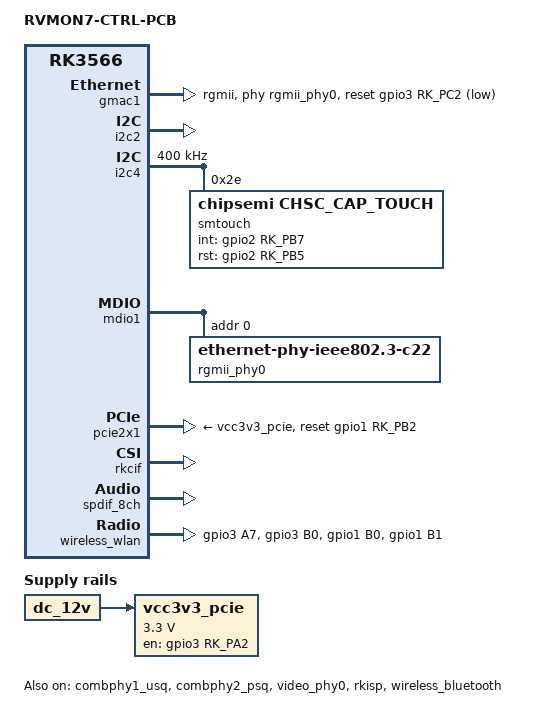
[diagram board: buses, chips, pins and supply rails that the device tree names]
// SPDX-License-Identifier: (GPL-2.0+ OR MIT)
/*
 * Copyright (c) 2020 Rockchip Electronics Co., Ltd.
 *
 */

/dts-v1/;

#include <dt-bindings/gpio/gpio.h>
#include <dt-bindings/display/media-bus-format.h>
#include <dt-bindings/pinctrl/rockchip.h>
#include "rk3566.dtsi"
#include "rk3566-rvmon7_ctrl_pcb-common.dtsi"

/ {
	model = "RVMON7-CTRL-PCB";
	compatible = "rockchip,rk3566-evb2-lp4x-v10", "rockchip,rk3566";

	vcc3v3_pcie: gpio-regulator {
		compatible = "regulator-fixed";
		regulator-name = "vcc3v3_pcie";
		regulator-min-microvolt = <3300000>;
		regulator-max-microvolt = <3300000>;
		enable-active-high;
		regulator-always-on;
		regulator-boot-on;
		gpio = <&gpio3 RK_PA2 GPIO_ACTIVE_HIGH>;
		startup-delay-us = <5000>;
		vin-supply = <&dc_12v>;
	};
};

&combphy1_usq {
	status = "okay";
};

&combphy2_psq {
	status = "okay";
};

&csi2_dphy_hw {
	status = "disabled";
};

&csi2_dphy0 {
	status = "disabled";
};

&csi2_dphy1 {
	status = "disabled";
};

&csi2_dphy2 {
	status = "disabled";
};

/*
 * video_phy0 needs to be enabled
 * when dsi0 is enabled
 */
&dsi0 {
	status = "disabled";
};

&dsi0_in_vp0 {
	status = "disabled";
};

&dsi0_in_vp1 {
	status = "disabled";
};


/*
 * video_phy1 needs to be enabled
 * when dsi1 is enabled
 */
&dsi1 {
	status = "disabled";
};

&dsi1_in_vp0 {
	status = "disabled";
};

&dsi1_in_vp1 {
	status = "disabled";
};

&dsi1_panel {
	power-supply = <&vcc3v3_lcd1_n>;
	reset-gpios = <&gpio3 RK_PA4 GPIO_ACTIVE_LOW>;
	pinctrl-names = "default";
	pinctrl-0 = <&lcd1_rst_gpio>;
};

&gmac1 {
	phy-mode = "rgmii";
	clock_in_out = "output";

	snps,reset-gpio = <&gpio3 RK_PC2 GPIO_ACTIVE_LOW>;
	snps,reset-active-low;
	/* Reset time is 20ms, 100ms for rtl8211f */
	snps,reset-delays-us = <0 20000 100000>;

	assigned-clocks = <&cru SCLK_GMAC1_RX_TX>, <&cru SCLK_GMAC1>;
	assigned-clock-parents = <&cru SCLK_GMAC1_RGMII_SPEED>, <&cru CLK_MAC1_2TOP>;
	assigned-clock-rates = <0>, <125000000>;

	pinctrl-names = "default";
	pinctrl-0 = <&gmac1m1_miim
		     &gmac1m1_tx_bus2
		     &gmac1m1_rx_bus2
		     &gmac1m1_rgmii_clk
		     &gmac1m1_rgmii_bus>;

	tx_delay = <0x4f>;
	rx_delay = <0x25>;

	phy-handle = <&rgmii_phy0>;
	status = "okay";
};

&i2c2 {
	status = "okay";
	pinctrl-0 = <&i2c2m0_xfer>;
};

&i2c4 {
	/* i2c4 sda conflict with camera pwdn */
	status = "okay";

	pinctrl-names = "default";
	pinctrl-0 = <&i2c4m1_xfer>;
	clock-frequency=<400000>;
	smtouch@2e{
		compatible = "chipsemi,chsc_cap_touch";
		reg = <0x2e>;
		chipsemi,int-gpio = <&gpio2 RK_PB7 0>;
		chipsemi,rst-gpio = <&gpio2 RK_PB5 0>;
	};
};

&mdio1 {
	rgmii_phy0: phy@0 {
		compatible = "ethernet-phy-ieee802.3-c22";
		reg = <0x0>;
	};
};

&mipi_csi2 {
	status = "disabled";
};

&mdio1 {
	rgmii_phy0: phy@0 {
		compatible = "ethernet-phy-ieee802.3-c22";
		reg = <0x0>;
	};
};

&video_phy0 {
	status = "okay";
};

&video_phy1 {
	status = "disabled";
};

&pcie2x1 {
	reset-gpios = <&gpio1 RK_PB2 GPIO_ACTIVE_HIGH>;
	vpcie3v3-supply = <&vcc3v3_pcie>;
	vpcie3v3-always-on;
	status = "okay";
};

&pinctrl {
	sdio-pwrseq {
		wifi_enable_h: wifi-enable-h {
			rockchip,pins = <2 RK_PB1 RK_FUNC_GPIO &pcfg_pull_none>;
		};
	};

	wireless-wlan {
		wifi_host_wake_irq: wifi-host-wake-irq {
			rockchip,pins = <2 RK_PB2 RK_FUNC_GPIO &pcfg_pull_down>;
		};

		wifi_power_gpios: wifi-power-gpios {
			rockchip,pins = <3 RK_PA7 RK_FUNC_GPIO &pcfg_pull_none>,
					<3 RK_PB0 RK_FUNC_GPIO &pcfg_pull_none>,
					<1 RK_PB0 RK_FUNC_GPIO &pcfg_pull_up>,
					<1 RK_PB1 RK_FUNC_GPIO &pcfg_pull_up>;
		};
	};

	wireless-bluetooth {
		uart1_gpios: uart1-gpios {
			rockchip,pins = <2 RK_PB5 RK_FUNC_GPIO &pcfg_pull_none>;
		};
	};

	lcd0 {
		lcd0_rst_gpio: lcd0-rst-gpio {
			rockchip,pins = <3 RK_PA3 RK_FUNC_GPIO &pcfg_pull_none>;
		};
	};

	lcd1 {
		lcd1_rst_gpio: lcd1-rst-gpio {
			rockchip,pins = <3 RK_PA4 RK_FUNC_GPIO &pcfg_pull_none>;
		};
	};
	panel-control {

		pinctrl_sn65dsi86_en: sn65dsi86_en {
			rockchip,pins = <2 RK_PC2 RK_FUNC_GPIO   &pcfg_pull_none>;
		};

		pinctrl_sn65dsi86_irq: sn65dsi86_irq{
			rockchip,pins = <2 RK_PC4 RK_FUNC_GPIO  &pcfg_pull_none>;
		};

		pinctrl_lvds_bl_en: lvds_bl_en {
			rockchip,pins = <2 RK_PC3 RK_FUNC_GPIO &pcfg_pull_none>;
		};

		pinctrl_lvds_vdd_en: lvds_vdd_en {
			rockchip,pins = <2 RK_PC1 RK_FUNC_GPIO  &pcfg_pull_none>;
		};

		pinctrl_pwr_source: pwr_source {
			rockchip,pins = <2 RK_PC5 RK_FUNC_GPIO  &pcfg_pull_none>;
		};
		/*pinctrl_lt9211_en: lt9211_en {
			rockchip,pins = <0 RK_PD5 RK_FUNC_GPIO &pcfg_pull_none>;
		};*/
	};
};

&rkcif {
	status = "okay";
};

&rkcif_dvp {
	status = "disabled";
};

&rkcif_mipi_lvds {
	status = "disabled";
};

&rkcif_mmu {
	status = "okay";
};

&rkisp {
	status = "okay";
};

&rkisp_mmu {
	status = "okay";
};

&rkisp_vir0 {
	status = "disabled";
};

&route_dsi0 {
	status = "disabled";
	connect = <&vp1_out_dsi0>;
};

&sdmmc2 {
	status = "disabled";
};

&sdmmc1 {
	max-frequency = <150000000>;
	supports-sdio;
	bus-width = <4>;
	disable-wp;
	cap-sd-highspeed;
	cap-sdio-irq;
	keep-power-in-suspend;
	mmc-pwrseq = <&sdio_pwrseq>;
	non-removable;
	pinctrl-names = "default";
	pinctrl-0 = <&sdmmc1_bus4 &sdmmc1_cmd &sdmmc1_clk>;
	sd-uhs-sdr104;
	status = "disabled";
};

&sdio_pwrseq {
	reset-gpios = <&gpio2 RK_PB1 GPIO_ACTIVE_LOW>;
};

&spdif_8ch {
	status = "okay";
	pinctrl-names = "default";
	pinctrl-0 = <&spdifm1_tx>;
};

&uart1 {
	status = "disabled";
	pinctrl-names = "default";
	pinctrl-0 = <&uart1m0_xfer &uart1m0_ctsn>;
};

&vcc3v3_lcd0_n {
	gpio = <&gpio0 RK_PC7 GPIO_ACTIVE_HIGH>;
	enable-active-high;
};

&vcc3v3_lcd1_n {
	gpio = <&gpio0 RK_PC5 GPIO_ACTIVE_HIGH>;
	enable-active-high;
};

&wireless_wlan {
	pinctrl-names = "default";
	pinctrl-0 = <&wifi_power_gpios>;
	WIFI,m2e_dis1_n = <&gpio3 RK_PA7 GPIO_ACTIVE_HIGH>;
	WIFI,m2e_dis2_n = <&gpio3 RK_PB0 GPIO_ACTIVE_HIGH>;
	WIFI,host_wake_irq = <&gpio1 RK_PB1 GPIO_ACTIVE_HIGH>;
	status = "okay";
};

&wireless_bluetooth {
	compatible = "bluetooth-platdata";
	clocks = <&rk809 1>;
	clock-names = "ext_clock";
	//wifi-bt-power-toggle;
	//uart_rts_gpios = <&gpio2 RK_PB5 GPIO_ACTIVE_LOW>;
	pinctrl-names = "default", "rts_gpio";
	//pinctrl-0 = <&uart1m0_rtsn>;
	pinctrl-1 = <&uart1_gpios>;
	status = "okay";
};
